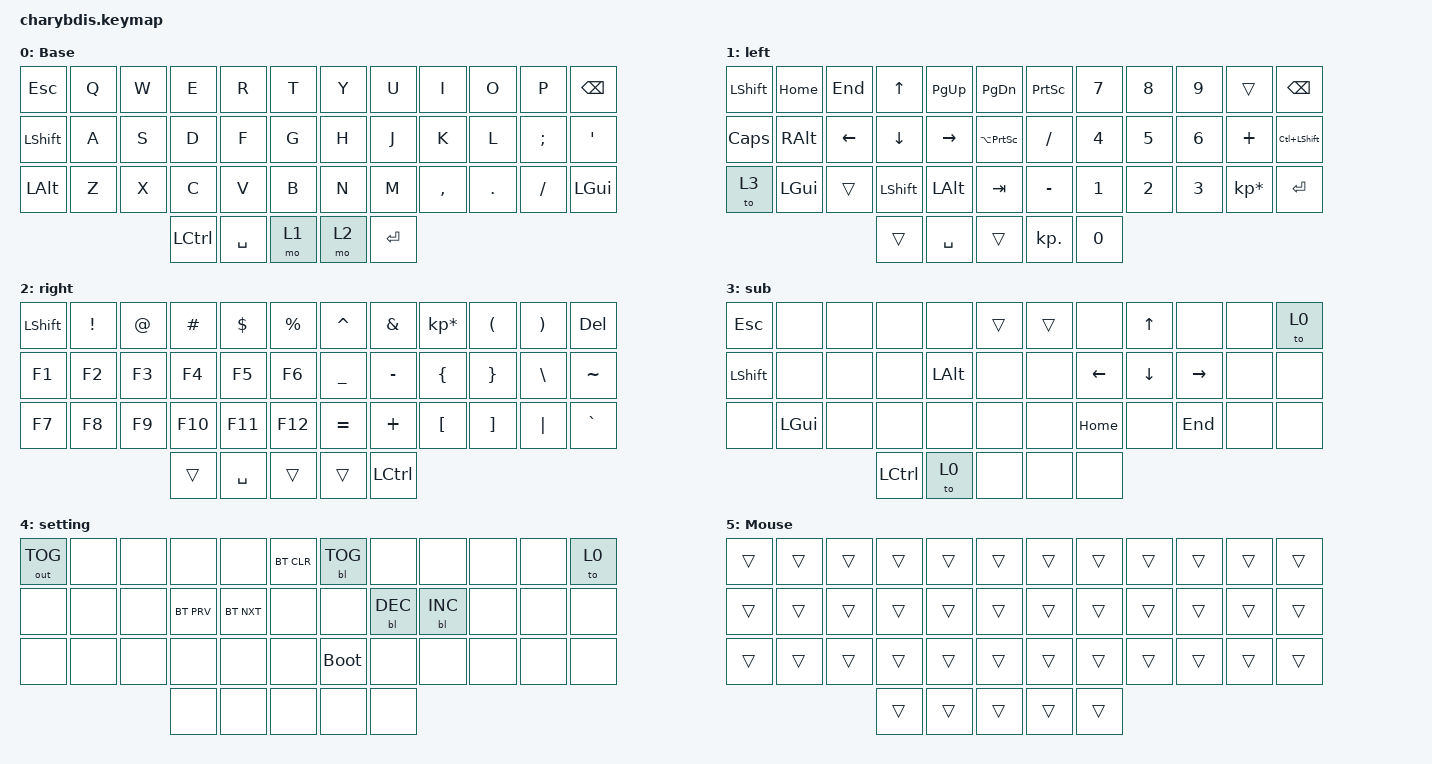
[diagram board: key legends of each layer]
#include <behaviors.dtsi>
#include <dt-bindings/zmk/backlight.h>
#include <dt-bindings/zmk/bt.h>
#include <dt-bindings/zmk/keys.h>
#include <dt-bindings/zmk/mouse.h>
#include <dt-bindings/zmk/outputs.h>

&lt {
    tapping-term-ms = <240>;
    flavor = "balanced";
    quick-tap-ms = <150>;
};

/ {
    combos {
        compatible = "zmk,combos";

        CtrlF5 {
            timeout-ms = <200>;
            bindings = <&kp LC(F5)>;
            key-positions = <5 0>;
            layers = <0>;
        };

        FirmwareMod {
            timeout-ms = <300>;
            bindings = <&to 4>;
            key-positions = <0 24 11 35>;
            layers = <0>;
        };

        AltF4 {
            bindings = <&kp LA(F4)>;
            key-positions = <24 29>;
            timeout-ms = <200>;
            layers = <0>;
        };

        Delet {
            bindings = <&kp DEL>;
            key-positions = <10 11>;
            timeout-ms = <100>;
            layers = <0 2 1 3 5>;
        };

        LClickR {
            bindings = <&mkp MB1>;
            key-positions = <19 20>;
            timeout-ms = <100>;
            layers = <5 0>;
        };

        MClick {
            bindings = <&mkp MCLK>;
            key-positions = <20 21>;
            timeout-ms = <100>;
            layers = <5 0>;
        };

        RClickR {
            bindings = <&mkp RCLK>;
            key-positions = <32 31>;
            timeout-ms = <100>;
            layers = <5 0>;
        };

        LClickL {
            bindings = <&mkp MB1>;
            key-positions = <16 15>;
            timeout-ms = <100>;
            layers = <5 0>;
        };

        RClickL {
            bindings = <&mkp RCLK>;
            key-positions = <27 28>;
            timeout-ms = <100>;
            layers = <5 0>;
        };

        MClickL {
            bindings = <&mkp MCLK>;
            key-positions = <14 15>;
            timeout-ms = <100>;
            layers = <5 0>;
        };
    };

    keymap {
        compatible = "zmk,keymap";

        Base {
            label = "Base";
            bindings = <
&kp ESCAPE      &kp Q  &kp W  &kp E      &kp R      &kp T    &kp Y  &kp U      &kp I      &kp O    &kp P     &kp BSPC
&kp LEFT_SHIFT  &kp A  &kp S  &kp D      &kp F      &kp G    &kp H  &kp J      &kp K      &kp L    &kp SEMI  &kp APOS
&kp LEFT_ALT    &kp Z  &kp X  &kp C      &kp V      &kp B    &kp N  &kp M      &kp COMMA  &kp DOT  &kp FSLH  &kp LGUI
                              &kp LCTRL  &kp SPACE  &mo 1    &mo 2  &kp ENTER
            >;

            trackball-bindings = <&tmv_coarse>;
        };

        Movement {
            label = "left";
            bindings = <
&kp LSHFT  &kp HOME       &kp END         &kp UP_ARROW    &kp PAGE_UP      &kp PAGE_DOWN          &kp PRINTSCREEN  &kp N7  &kp N8  &kp N9  &trans           &kp BACKSPACE
&kp CLCK   &kp RIGHT_ALT  &kp LEFT_ARROW  &kp DOWN_ARROW  &kp RIGHT_ARROW  &kp LA(PRINTSCREEN)    &kp SLASH        &kp N4  &kp N5  &kp N6  &kp PLUS         &kp LC(LEFT_SHIFT)
&to 3      &kp LGUI       &trans          &kp LSHFT       &kp LEFT_ALT     &kp TAB                &kp MINUS        &kp N1  &kp N2  &kp N3  &kp KP_MULTIPLY  &kp ENTER
                                          &trans          &kp SPACE        &trans                 &kp KP_DOT       &kp N0
            >;
        };

        Function {
            label = "right";
            bindings = <
&kp LEFT_SHIFT  &kp EXCL  &kp AT  &kp HASH  &kp DLLR   &kp PRCNT    &kp CARET  &kp AMPS   &kp KP_MULTIPLY   &kp LPAR           &kp RPAR  &kp DEL
&kp F1          &kp F2    &kp F3  &kp F4    &kp F5     &kp F6       &kp UNDER  &kp MINUS  &kp LEFT_BRACE    &kp RIGHT_BRACE    &kp BSLH  &kp TILDE
&kp F7          &kp F8    &kp F9  &kp F10   &kp F11    &kp F12      &kp EQUAL  &kp PLUS   &kp LEFT_BRACKET  &kp RIGHT_BRACKET  &kp PIPE  &kp GRAVE
                                  &trans    &kp SPACE  &trans       &trans     &kp LCTRL
            >;
        };

        Sub {
            label = "sub";
            bindings = <
&kp ESCAPE      &none     &none  &none      &none     &trans    &trans  &none     &kp UP    &none      &none  &to 0
&kp LEFT_SHIFT  &none     &none  &none      &kp LALT  &none     &none   &kp LEFT  &kp DOWN  &kp RIGHT  &none  &none
&none           &kp LGUI  &none  &none      &none     &none     &none   &kp HOME  &none     &kp END    &none  &none
                                 &kp LCTRL  &to 0     &none     &none   &none
            >;
        };

        Firmware {
            label = "setting";
            bindings = <
&out OUT_TOG  &none  &none  &none       &none       &bt BT_CLR    &bl BL_TOG   &none       &none       &none  &none  &to 0
&none         &none  &none  &bt BT_PRV  &bt BT_NXT  &none         &none        &bl BL_DEC  &bl BL_INC  &none  &none  &none
&none         &none  &none  &none       &none       &none         &bootloader  &none       &none       &none  &none  &none
                            &none       &none       &none         &none        &none
            >;
        };

        Mouse {
            bindings = <
&trans  &trans  &trans  &trans  &trans  &trans    &trans  &trans  &trans  &trans  &trans  &trans
&trans  &trans  &trans  &trans  &trans  &trans    &trans  &trans  &trans  &trans  &trans  &trans
&trans  &trans  &trans  &trans  &trans  &trans    &trans  &trans  &trans  &trans  &trans  &trans
                        &trans  &trans  &trans    &trans  &trans
            >;
        };
    };
};
